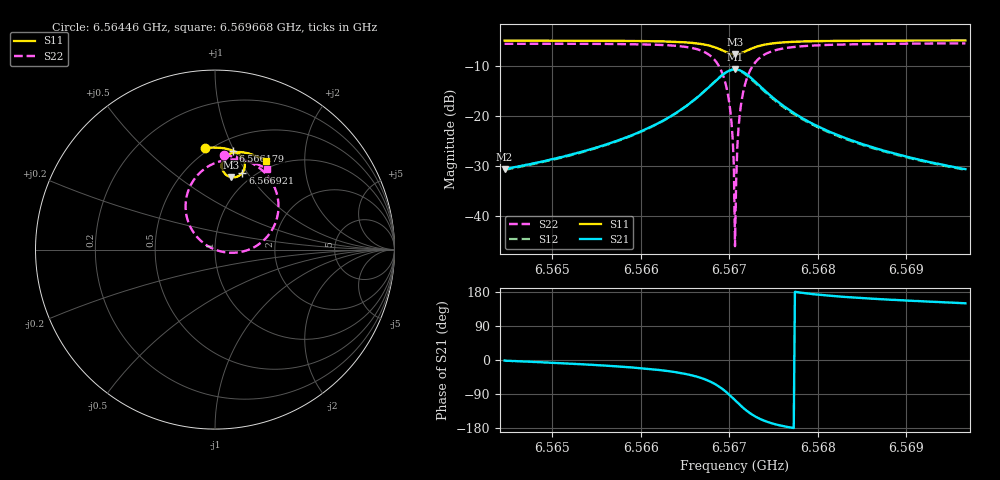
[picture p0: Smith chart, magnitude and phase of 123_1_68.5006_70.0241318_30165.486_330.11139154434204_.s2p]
#  HZ  S  RI  R  50.00
! Rohde & Schwarz Vector Network Analyzer
! Rohde-Schwarz,ZNB20-2Port,1311601062101988,3.16
! Created: UTC 3/20/2024, 4:54:03 PM
! freq[Hz]  re:S11  im:S11  re:S21  im:S21  re:S12  im:S12  re:S22  im:S22
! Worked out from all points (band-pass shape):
!   401 points, 6.56446 GHz to 6.569668 GHz, reference 50 ohm
!   highest |S21| = -10.67 dB at 6.567064 GHz (marker M1); lowest = -30.7 dB at 6.56446 GHz (marker M2)
!   |S21| within 3 dB of the highest: 6.566803 GHz to 6.567325 GHz (521.4 kHz wide, 0.00794 % of centre)
!   lowest |S11| = -7.7 dB at 6.567064 GHz (marker M3), VSWR 2.41, Z = 41.6 + j40.6 ohm
!   |S11| at or under -10 dB: nowhere
!   |S22| runs from -46.1 to -5.4 dB; largest |S21 - S12| = 0.014
!   S11 on the Smith chart (normalised r, x): 6.56446 GHz: 0.47, +0.79; 6.566179 GHz: 0.61, +0.99; 6.566921 GHz: 0.88, +0.95; 6.569668 GHz: 0.90, +1.31
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6.5644602e9  -0.0543 0.5668  0.0292 -0.000701  0.0288 -0.00134  0.0477 0.5263
6.5653325e9  0.018 0.5678  0.043 -0.00855  0.0422 -0.00915  0.1324 0.5113
6.5661789e9  0.0988 0.5516  0.0746 -0.0361  0.0737 -0.0369  0.2488 0.4535
6.5662049e9  0.1016 0.5505  0.0766 -0.0379  0.0753 -0.0388  0.2536 0.4496
6.5667127e9  0.1615 0.495  0.1124 -0.1339  0.1097 -0.1367  0.353 0.2625
6.5668299e9  0.1659 0.461  0.1012 -0.1934  0.0961 -0.1971  0.3369 0.1488
6.566921e9  0.1528 0.4282  0.0611 -0.2497  0.0521 -0.2527  0.2629 0.0442
6.5669992e9  0.1225 0.4062  -0.00791 -0.2843  -0.0204 -0.2834  0.1352 -0.0148
6.5670252e9  0.1089 0.4031  -0.0369 -0.2874  -0.0499 -0.2843  0.0831 -0.0177
6.5670382e9  0.1018 0.4027  -0.0517 -0.2867  -0.0646 -0.2827  0.0566 -0.015
6.5670512e9  0.0947 0.4031  -0.0665 -0.2849  -0.0794 -0.2795  0.0302 -0.00983
6.5670643e9  0.0876 0.4043  -0.0814 -0.2813  -0.0939 -0.2749  0.0046 -0.00182
6.5670903e9  0.0742 0.409  -0.1091 -0.2701  -0.1207 -0.2616  -0.0432 0.0218
6.5671033e9  0.0679 0.4125  -0.122 -0.2626  -0.1327 -0.2531  -0.0647 0.0368
6.5671163e9  0.0623 0.4164  -0.1338 -0.2539  -0.1437 -0.2436  -0.084 0.0537
6.5671424e9  0.0526 0.4261  -0.1541 -0.2343  -0.162 -0.2227  -0.1165 0.0913
6.5671945e9  0.0406 0.4482  -0.1804 -0.1899  -0.1844 -0.1776  -0.155 0.1729
6.5672596e9  0.0383 0.4755  -0.1903 -0.1365  -0.1905 -0.1255  -0.1627 0.2667
6.567507e9  0.0766 0.5304  -0.1459 -0.0287  -0.1426 -0.0242  -0.0602 0.4484
6.5679366e9  0.1394 0.5433  -0.0835 0.00878  -0.0814 0.01  0.0796 0.5012
6.568809e9  0.2226 0.5241  -0.0404 0.0155  -0.0396 0.0157  0.2107 0.4846
6.5696683e9  0.2869 0.4938  -0.0252 0.0148  -0.0247 0.0148  0.2883 0.4498
